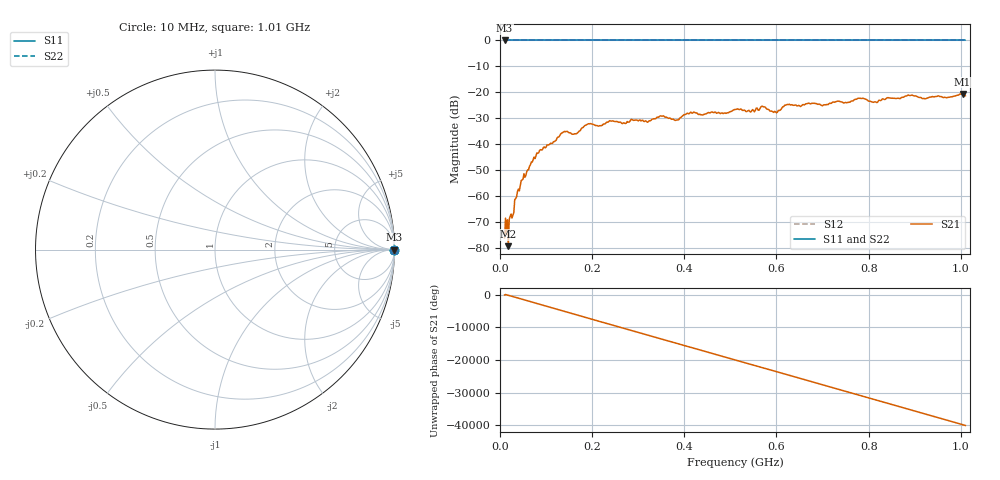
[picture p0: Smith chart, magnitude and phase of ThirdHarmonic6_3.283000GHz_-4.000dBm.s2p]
! 8/17/2025 10:11:15 AM
! C:\ANRITSUVNA\TEMP\TEMP.S2P
! CHANNEL.1
! TR.MEASUREMENT
! RAW.DATA
! RF.CORRECTION.OFF
! AVERAGING.OFF
! IF.BANDWIDTH: 5KHZ
! SWEEPTYPE:  FREQ.SWEEP(Linear)
! Reference Plane Port Info
! PORT:  PORT1  PORT2
! DISTANCE:  0  m  0  m
! TIME:  0  s  0  s
! PHASE.OFFSET:  0  deg.  0  deg.
! LOSS:  0  dB  0  dB
! REF.LOSS:  0  dB  0  dB
! REF.FREQ:  0  Hz  0  Hz
! Power Info
! POWER:  -20  dBm  -20  dBm
! EFF.POWER:  -20  dBm  -20  dBm
! SOURCE.ATTEN:  0  dB  0  dB
! TEST.ATTEN:  0  dB  0  dB
# GHZ S RI R 50.0
! FREQ.GHZ  S11RE  S11IM  S21RE  S21IM  S12RE  S12IM  S22RE  S22IM
!; PortSelection: Port_12
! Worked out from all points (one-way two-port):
!   501 points, 10 MHz to 1.01 GHz, reference 50 ohm
!   highest |S21| = -20.68 dB at 1.004 GHz (marker M1); lowest = -79.4 dB at 18 MHz (marker M2)
!   lowest |S11| = 0.0 dB at 10 MHz (marker M3)
!   |S11| at or under -10 dB: nowhere
!   |S22| runs from 0.0 to 0.0 dB; largest |S21 - S12| = 1.1
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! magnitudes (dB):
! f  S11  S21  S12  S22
! 10 MHz  0.0  -76.2  0.0  0.0
! 18 MHz  0.0  -79.4  0.0  0.0
! 36 MHz  0.0  -60.4  0.0  0.0
! 48 MHz  0.0  -53.9  0.0  0.0
! 84 MHz  0.0  -43.4  0.0  0.0
! 136 MHz  0.0  -35.6  0.0  0.0
! 162 MHz  0.0  -36.0  0.0  0.0
! 178 MHz  0.0  -33.7  0.0  0.0
! 194 MHz  0.0  -32.2  0.0  0.0
! 322 MHz  0.0  -31.3  0.0  0.0
! 344 MHz  0.0  -29.6  0.0  0.0
! 384 MHz  0.0  -30.7  0.0  0.0
! 410 MHz  0.0  -28.4  0.0  0.0
! 510 MHz  0.0  -26.6  0.0  0.0
! 572 MHz  0.0  -25.7  0.0  0.0
! 598 MHz  0.0  -27.5  0.0  0.0
! 622 MHz  0.0  -24.8  0.0  0.0
! 678 MHz  0.0  -24.3  0.0  0.0
! 814 MHz  0.0  -23.7  0.0  0.0
! 844 MHz  0.0  -22.2  0.0  0.0
! 1.004 GHz  0.0  -20.7  0.0  0.0
! 1.01 GHz  0.0  -21.3  0.0  0.0
